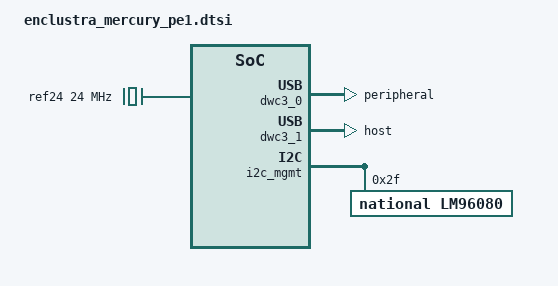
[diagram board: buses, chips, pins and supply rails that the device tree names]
/ {
	aliases {
		mmc0 = &sdhci0;
		mmc1 = &sdhci1;
	};
};

&dwc3_0 {
	dr_mode = "peripheral";
	snps,usb3_lpm_capable;
	maximum-speed = "high-speed";
};

&dwc3_1 {
	dr_mode = "host";
	snps,usb3_lpm_capable;
	maximum-speed = "high-speed";
};

/* SD1 with level shifter */
&sdhci1 {
	no-1-8-v;	/* for 1.0 silicon */
	wp-inverted;
	xlnx,mio_bank = <1>;
};

&amba {
	ref24: ref24M {
		compatible = "fixed-clock";
		#clock-cells = <0>;
		clock-frequency = <24000000>;
	};
};

&i2c_mgmt {	
	lm96080@2f {
		compatible = "national,lm96080", "lm80";
		reg = <0x2f>;
	};
};
